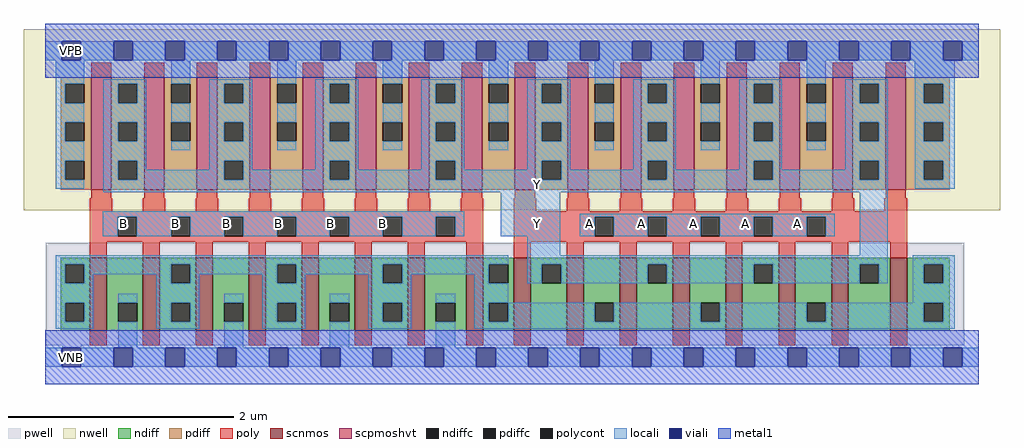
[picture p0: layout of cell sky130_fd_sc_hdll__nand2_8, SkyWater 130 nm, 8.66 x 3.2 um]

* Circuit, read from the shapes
.subckt sky130_fd_sc_hdll__nand2_8 A B VGND VNB VPB VPWR Y
XM1 VGND B n1 VNB sky130_fd_pr__nfet_01v8 w=0.65 l=0.15 m=8
XM2 Y A n1 VNB sky130_fd_pr__nfet_01v8 w=0.65 l=0.15 m=8
XM3 Y B VPWR VPB sky130_fd_pr__pfet_01v8_hvt w=1 l=0.18 m=8
XM4 Y A VPWR VPB sky130_fd_pr__pfet_01v8_hvt w=1 l=0.18 m=8
.ends

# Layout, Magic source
magic
tech sky130A
magscale 1 2
<< nwell >>
rect -38 261 1694 582
<< pwell >>
rect 1 21 1631 203
rect 30 -17 64 21
<< scnmos >>
rect 79 47 109 177
rect 173 47 203 177
rect 267 47 297 177
rect 361 47 391 177
rect 455 47 485 177
rect 549 47 579 177
rect 643 47 673 177
rect 747 47 777 177
rect 831 47 861 177
rect 925 47 955 177
rect 1019 47 1049 177
rect 1113 47 1143 177
rect 1207 47 1237 177
rect 1301 47 1331 177
rect 1395 47 1425 177
rect 1499 47 1529 177
<< scpmoshvt >>
rect 81 297 117 497
rect 175 297 211 497
rect 269 297 305 497
rect 363 297 399 497
rect 457 297 493 497
rect 551 297 587 497
rect 645 297 681 497
rect 739 297 775 497
rect 833 297 869 497
rect 927 297 963 497
rect 1021 297 1057 497
rect 1115 297 1151 497
rect 1209 297 1245 497
rect 1303 297 1339 497
rect 1397 297 1433 497
rect 1491 297 1527 497
<< ndiff >>
rect 27 165 79 177
rect 27 131 35 165
rect 69 131 79 165
rect 27 97 79 131
rect 27 63 35 97
rect 69 63 79 97
rect 27 47 79 63
rect 109 97 173 177
rect 109 63 129 97
rect 163 63 173 97
rect 109 47 173 63
rect 203 165 267 177
rect 203 131 223 165
rect 257 131 267 165
rect 203 97 267 131
rect 203 63 223 97
rect 257 63 267 97
rect 203 47 267 63
rect 297 97 361 177
rect 297 63 317 97
rect 351 63 361 97
rect 297 47 361 63
rect 391 165 455 177
rect 391 131 411 165
rect 445 131 455 165
rect 391 97 455 131
rect 391 63 411 97
rect 445 63 455 97
rect 391 47 455 63
rect 485 97 549 177
rect 485 63 505 97
rect 539 63 549 97
rect 485 47 549 63
rect 579 165 643 177
rect 579 131 599 165
rect 633 131 643 165
rect 579 97 643 131
rect 579 63 599 97
rect 633 63 643 97
rect 579 47 643 63
rect 673 97 747 177
rect 673 63 693 97
rect 727 63 747 97
rect 673 47 747 63
rect 777 165 831 177
rect 777 131 787 165
rect 821 131 831 165
rect 777 97 831 131
rect 777 63 787 97
rect 821 63 831 97
rect 777 47 831 63
rect 861 165 925 177
rect 861 131 881 165
rect 915 131 925 165
rect 861 47 925 131
rect 955 97 1019 177
rect 955 63 975 97
rect 1009 63 1019 97
rect 955 47 1019 63
rect 1049 165 1113 177
rect 1049 131 1069 165
rect 1103 131 1113 165
rect 1049 47 1113 131
rect 1143 97 1207 177
rect 1143 63 1163 97
rect 1197 63 1207 97
rect 1143 47 1207 63
rect 1237 165 1301 177
rect 1237 131 1257 165
rect 1291 131 1301 165
rect 1237 47 1301 131
rect 1331 97 1395 177
rect 1331 63 1351 97
rect 1385 63 1395 97
rect 1331 47 1395 63
rect 1425 165 1499 177
rect 1425 131 1445 165
rect 1479 131 1499 165
rect 1425 47 1499 131
rect 1529 165 1605 177
rect 1529 131 1559 165
rect 1593 131 1605 165
rect 1529 97 1605 131
rect 1529 63 1559 97
rect 1593 63 1605 97
rect 1529 47 1605 63
<< pdiff >>
rect 27 485 81 497
rect 27 451 35 485
rect 69 451 81 485
rect 27 417 81 451
rect 27 383 35 417
rect 69 383 81 417
rect 27 349 81 383
rect 27 315 35 349
rect 69 315 81 349
rect 27 297 81 315
rect 117 485 175 497
rect 117 451 129 485
rect 163 451 175 485
rect 117 417 175 451
rect 117 383 129 417
rect 163 383 175 417
rect 117 349 175 383
rect 117 315 129 349
rect 163 315 175 349
rect 117 297 175 315
rect 211 485 269 497
rect 211 451 223 485
rect 257 451 269 485
rect 211 417 269 451
rect 211 383 223 417
rect 257 383 269 417
rect 211 297 269 383
rect 305 485 363 497
rect 305 451 317 485
rect 351 451 363 485
rect 305 417 363 451
rect 305 383 317 417
rect 351 383 363 417
rect 305 349 363 383
rect 305 315 317 349
rect 351 315 363 349
rect 305 297 363 315
rect 399 485 457 497
rect 399 451 411 485
rect 445 451 457 485
rect 399 417 457 451
rect 399 383 411 417
rect 445 383 457 417
rect 399 297 457 383
rect 493 485 551 497
rect 493 451 505 485
rect 539 451 551 485
rect 493 417 551 451
rect 493 383 505 417
rect 539 383 551 417
rect 493 349 551 383
rect 493 315 505 349
rect 539 315 551 349
rect 493 297 551 315
rect 587 485 645 497
rect 587 451 599 485
rect 633 451 645 485
rect 587 417 645 451
rect 587 383 599 417
rect 633 383 645 417
rect 587 297 645 383
rect 681 485 739 497
rect 681 451 693 485
rect 727 451 739 485
rect 681 417 739 451
rect 681 383 693 417
rect 727 383 739 417
rect 681 349 739 383
rect 681 315 693 349
rect 727 315 739 349
rect 681 297 739 315
rect 775 485 833 497
rect 775 451 787 485
rect 821 451 833 485
rect 775 417 833 451
rect 775 383 787 417
rect 821 383 833 417
rect 775 297 833 383
rect 869 485 927 497
rect 869 451 881 485
rect 915 451 927 485
rect 869 417 927 451
rect 869 383 881 417
rect 915 383 927 417
rect 869 349 927 383
rect 869 315 881 349
rect 915 315 927 349
rect 869 297 927 315
rect 963 485 1021 497
rect 963 451 975 485
rect 1009 451 1021 485
rect 963 417 1021 451
rect 963 383 975 417
rect 1009 383 1021 417
rect 963 297 1021 383
rect 1057 485 1115 497
rect 1057 451 1069 485
rect 1103 451 1115 485
rect 1057 417 1115 451
rect 1057 383 1069 417
rect 1103 383 1115 417
rect 1057 349 1115 383
rect 1057 315 1069 349
rect 1103 315 1115 349
rect 1057 297 1115 315
rect 1151 485 1209 497
rect 1151 451 1163 485
rect 1197 451 1209 485
rect 1151 417 1209 451
rect 1151 383 1163 417
rect 1197 383 1209 417
rect 1151 297 1209 383
rect 1245 485 1303 497
rect 1245 451 1257 485
rect 1291 451 1303 485
rect 1245 417 1303 451
rect 1245 383 1257 417
rect 1291 383 1303 417
rect 1245 349 1303 383
rect 1245 315 1257 349
rect 1291 315 1303 349
rect 1245 297 1303 315
rect 1339 485 1397 497
rect 1339 451 1351 485
rect 1385 451 1397 485
rect 1339 417 1397 451
rect 1339 383 1351 417
rect 1385 383 1397 417
rect 1339 297 1397 383
rect 1433 485 1491 497
rect 1433 451 1445 485
rect 1479 451 1491 485
rect 1433 417 1491 451
rect 1433 383 1445 417
rect 1479 383 1491 417
rect 1433 349 1491 383
rect 1433 315 1445 349
rect 1479 315 1491 349
rect 1433 297 1491 315
rect 1527 485 1605 497
rect 1527 451 1559 485
rect 1593 451 1605 485
rect 1527 417 1605 451
rect 1527 383 1559 417
rect 1593 383 1605 417
rect 1527 349 1605 383
rect 1527 315 1559 349
rect 1593 315 1605 349
rect 1527 297 1605 315
<< ndiffc >>
rect 35 131 69 165
rect 35 63 69 97
rect 129 63 163 97
rect 223 131 257 165
rect 223 63 257 97
rect 317 63 351 97
rect 411 131 445 165
rect 411 63 445 97
rect 505 63 539 97
rect 599 131 633 165
rect 599 63 633 97
rect 693 63 727 97
rect 787 131 821 165
rect 787 63 821 97
rect 881 131 915 165
rect 975 63 1009 97
rect 1069 131 1103 165
rect 1163 63 1197 97
rect 1257 131 1291 165
rect 1351 63 1385 97
rect 1445 131 1479 165
rect 1559 131 1593 165
rect 1559 63 1593 97
<< pdiffc >>
rect 35 451 69 485
rect 35 383 69 417
rect 35 315 69 349
rect 129 451 163 485
rect 129 383 163 417
rect 129 315 163 349
rect 223 451 257 485
rect 223 383 257 417
rect 317 451 351 485
rect 317 383 351 417
rect 317 315 351 349
rect 411 451 445 485
rect 411 383 445 417
rect 505 451 539 485
rect 505 383 539 417
rect 505 315 539 349
rect 599 451 633 485
rect 599 383 633 417
rect 693 451 727 485
rect 693 383 727 417
rect 693 315 727 349
rect 787 451 821 485
rect 787 383 821 417
rect 881 451 915 485
rect 881 383 915 417
rect 881 315 915 349
rect 975 451 1009 485
rect 975 383 1009 417
rect 1069 451 1103 485
rect 1069 383 1103 417
rect 1069 315 1103 349
rect 1163 451 1197 485
rect 1163 383 1197 417
rect 1257 451 1291 485
rect 1257 383 1291 417
rect 1257 315 1291 349
rect 1351 451 1385 485
rect 1351 383 1385 417
rect 1445 451 1479 485
rect 1445 383 1479 417
rect 1445 315 1479 349
rect 1559 451 1593 485
rect 1559 383 1593 417
rect 1559 315 1593 349
<< poly >>
rect 81 497 117 523
rect 175 497 211 523
rect 269 497 305 523
rect 363 497 399 523
rect 457 497 493 523
rect 551 497 587 523
rect 645 497 681 523
rect 739 497 775 523
rect 833 497 869 523
rect 927 497 963 523
rect 1021 497 1057 523
rect 1115 497 1151 523
rect 1209 497 1245 523
rect 1303 497 1339 523
rect 1397 497 1433 523
rect 1491 497 1527 523
rect 81 282 117 297
rect 175 282 211 297
rect 269 282 305 297
rect 363 282 399 297
rect 457 282 493 297
rect 551 282 587 297
rect 645 282 681 297
rect 739 282 775 297
rect 833 282 869 297
rect 927 282 963 297
rect 1021 282 1057 297
rect 1115 282 1151 297
rect 1209 282 1245 297
rect 1303 282 1339 297
rect 1397 282 1433 297
rect 1491 282 1527 297
rect 79 259 119 282
rect 173 259 213 282
rect 267 259 307 282
rect 361 259 401 282
rect 455 259 495 282
rect 549 259 589 282
rect 643 259 683 282
rect 737 259 777 282
rect 79 249 777 259
rect 79 215 128 249
rect 162 215 223 249
rect 257 215 317 249
rect 351 215 411 249
rect 445 215 505 249
rect 539 215 599 249
rect 633 215 693 249
rect 727 215 777 249
rect 79 205 777 215
rect 79 177 109 205
rect 173 177 203 205
rect 267 177 297 205
rect 361 177 391 205
rect 455 177 485 205
rect 549 177 579 205
rect 643 177 673 205
rect 747 177 777 205
rect 831 259 871 282
rect 925 259 965 282
rect 1019 259 1059 282
rect 1113 259 1153 282
rect 1207 259 1247 282
rect 1301 259 1341 282
rect 1395 259 1435 282
rect 1489 259 1529 282
rect 831 249 1529 259
rect 831 215 975 249
rect 1009 215 1069 249
rect 1103 215 1163 249
rect 1197 215 1257 249
rect 1291 215 1351 249
rect 1385 215 1529 249
rect 831 205 1529 215
rect 831 177 861 205
rect 925 177 955 205
rect 1019 177 1049 205
rect 1113 177 1143 205
rect 1207 177 1237 205
rect 1301 177 1331 205
rect 1395 177 1425 205
rect 1499 177 1529 205
rect 79 21 109 47
rect 173 21 203 47
rect 267 21 297 47
rect 361 21 391 47
rect 455 21 485 47
rect 549 21 579 47
rect 643 21 673 47
rect 747 21 777 47
rect 831 21 861 47
rect 925 21 955 47
rect 1019 21 1049 47
rect 1113 21 1143 47
rect 1207 21 1237 47
rect 1301 21 1331 47
rect 1395 21 1425 47
rect 1499 21 1529 47
<< polycont >>
rect 128 215 162 249
rect 223 215 257 249
rect 317 215 351 249
rect 411 215 445 249
rect 505 215 539 249
rect 599 215 633 249
rect 693 215 727 249
rect 975 215 1009 249
rect 1069 215 1103 249
rect 1163 215 1197 249
rect 1257 215 1291 249
rect 1351 215 1385 249
<< locali >>
rect 0 527 29 561
rect 63 527 121 561
rect 155 527 213 561
rect 247 527 305 561
rect 339 527 397 561
rect 431 527 489 561
rect 523 527 581 561
rect 615 527 673 561
rect 707 527 765 561
rect 799 527 857 561
rect 891 527 949 561
rect 983 527 1041 561
rect 1075 527 1133 561
rect 1167 527 1225 561
rect 1259 527 1317 561
rect 1351 527 1409 561
rect 1443 527 1501 561
rect 1535 527 1593 561
rect 1627 527 1656 561
rect 18 485 69 527
rect 18 451 35 485
rect 18 417 69 451
rect 18 383 35 417
rect 18 349 69 383
rect 18 315 35 349
rect 18 299 69 315
rect 103 485 179 493
rect 103 451 129 485
rect 163 451 179 485
rect 103 417 179 451
rect 103 383 129 417
rect 163 383 179 417
rect 103 349 179 383
rect 223 485 257 527
rect 223 417 257 451
rect 223 367 257 383
rect 291 485 367 493
rect 291 451 317 485
rect 351 451 367 485
rect 291 417 367 451
rect 291 383 317 417
rect 351 383 367 417
rect 103 315 129 349
rect 163 333 179 349
rect 291 349 367 383
rect 411 485 445 527
rect 411 417 445 451
rect 411 367 445 383
rect 479 485 555 493
rect 479 451 505 485
rect 539 451 555 485
rect 479 417 555 451
rect 479 383 505 417
rect 539 383 555 417
rect 291 333 317 349
rect 163 315 317 333
rect 351 333 367 349
rect 479 349 555 383
rect 599 485 633 527
rect 599 417 633 451
rect 599 367 633 383
rect 667 485 743 493
rect 667 451 693 485
rect 727 451 743 485
rect 667 417 743 451
rect 667 383 693 417
rect 727 383 743 417
rect 479 333 505 349
rect 351 315 505 333
rect 539 333 555 349
rect 667 349 743 383
rect 787 485 821 527
rect 787 417 821 451
rect 787 367 821 383
rect 855 485 931 493
rect 855 451 881 485
rect 915 451 931 485
rect 855 417 931 451
rect 855 383 881 417
rect 915 383 931 417
rect 667 333 693 349
rect 539 315 693 333
rect 727 333 743 349
rect 855 349 931 383
rect 975 485 1009 527
rect 975 417 1009 451
rect 975 367 1009 383
rect 1043 485 1119 493
rect 1043 451 1069 485
rect 1103 451 1119 485
rect 1043 417 1119 451
rect 1043 383 1069 417
rect 1103 383 1119 417
rect 855 333 881 349
rect 727 315 881 333
rect 915 333 931 349
rect 1043 349 1119 383
rect 1163 485 1197 527
rect 1163 417 1197 451
rect 1163 367 1197 383
rect 1231 485 1307 493
rect 1231 451 1257 485
rect 1291 451 1307 485
rect 1231 417 1307 451
rect 1231 383 1257 417
rect 1291 383 1307 417
rect 1043 333 1069 349
rect 915 315 1069 333
rect 1103 333 1119 349
rect 1231 349 1307 383
rect 1351 485 1385 527
rect 1351 417 1385 451
rect 1351 367 1385 383
rect 1419 485 1495 493
rect 1419 451 1445 485
rect 1479 451 1495 485
rect 1419 417 1495 451
rect 1419 383 1445 417
rect 1479 383 1495 417
rect 1231 333 1257 349
rect 1103 315 1257 333
rect 1291 333 1307 349
rect 1419 349 1495 383
rect 1419 333 1445 349
rect 1291 315 1445 333
rect 1479 315 1495 349
rect 103 293 1495 315
rect 1543 485 1614 527
rect 1543 451 1559 485
rect 1593 451 1614 485
rect 1543 417 1614 451
rect 1543 383 1559 417
rect 1593 383 1614 417
rect 1543 349 1614 383
rect 1543 315 1559 349
rect 1593 315 1614 349
rect 1543 299 1614 315
rect 102 249 743 259
rect 102 215 128 249
rect 162 215 223 249
rect 257 215 317 249
rect 351 215 411 249
rect 445 215 505 249
rect 539 215 599 249
rect 633 215 693 249
rect 727 215 743 249
rect 808 215 914 293
rect 948 249 1401 255
rect 948 215 975 249
rect 1009 215 1069 249
rect 1103 215 1163 249
rect 1197 215 1257 249
rect 1291 215 1351 249
rect 1385 215 1401 249
rect 855 181 914 215
rect 1445 181 1495 293
rect 18 165 821 181
rect 18 131 35 165
rect 69 147 223 165
rect 69 131 85 147
rect 18 97 85 131
rect 197 131 223 147
rect 257 147 411 165
rect 257 131 273 147
rect 18 63 35 97
rect 69 63 85 97
rect 18 51 85 63
rect 129 97 163 113
rect 129 17 163 63
rect 197 97 273 131
rect 385 131 411 147
rect 445 147 599 165
rect 445 131 461 147
rect 197 63 223 97
rect 257 63 273 97
rect 197 51 273 63
rect 317 97 351 113
rect 317 17 351 63
rect 385 97 461 131
rect 573 131 599 147
rect 633 147 787 165
rect 633 131 649 147
rect 385 63 411 97
rect 445 63 461 97
rect 385 51 461 63
rect 505 97 539 113
rect 505 17 539 63
rect 573 97 649 131
rect 761 131 787 147
rect 855 165 1495 181
rect 855 131 881 165
rect 915 131 1069 165
rect 1103 131 1257 165
rect 1291 131 1445 165
rect 1479 131 1495 165
rect 1539 165 1614 181
rect 1539 131 1559 165
rect 1593 131 1614 165
rect 573 63 599 97
rect 633 63 649 97
rect 573 51 649 63
rect 693 97 727 113
rect 693 17 727 63
rect 761 97 821 131
rect 1539 97 1614 131
rect 761 63 787 97
rect 821 63 975 97
rect 1009 63 1163 97
rect 1197 63 1351 97
rect 1385 63 1559 97
rect 1593 63 1614 97
rect 761 51 1614 63
rect 0 -17 29 17
rect 63 -17 121 17
rect 155 -17 213 17
rect 247 -17 305 17
rect 339 -17 397 17
rect 431 -17 489 17
rect 523 -17 581 17
rect 615 -17 673 17
rect 707 -17 765 17
rect 799 -17 857 17
rect 891 -17 949 17
rect 983 -17 1041 17
rect 1075 -17 1133 17
rect 1167 -17 1225 17
rect 1259 -17 1317 17
rect 1351 -17 1409 17
rect 1443 -17 1501 17
rect 1535 -17 1593 17
rect 1627 -17 1656 17
<< viali >>
rect 29 527 63 561
rect 121 527 155 561
rect 213 527 247 561
rect 305 527 339 561
rect 397 527 431 561
rect 489 527 523 561
rect 581 527 615 561
rect 673 527 707 561
rect 765 527 799 561
rect 857 527 891 561
rect 949 527 983 561
rect 1041 527 1075 561
rect 1133 527 1167 561
rect 1225 527 1259 561
rect 1317 527 1351 561
rect 1409 527 1443 561
rect 1501 527 1535 561
rect 1593 527 1627 561
rect 29 -17 63 17
rect 121 -17 155 17
rect 213 -17 247 17
rect 305 -17 339 17
rect 397 -17 431 17
rect 489 -17 523 17
rect 581 -17 615 17
rect 673 -17 707 17
rect 765 -17 799 17
rect 857 -17 891 17
rect 949 -17 983 17
rect 1041 -17 1075 17
rect 1133 -17 1167 17
rect 1225 -17 1259 17
rect 1317 -17 1351 17
rect 1409 -17 1443 17
rect 1501 -17 1535 17
rect 1593 -17 1627 17
<< metal1 >>
rect 0 561 1656 592
rect 0 527 29 561
rect 63 527 121 561
rect 155 527 213 561
rect 247 527 305 561
rect 339 527 397 561
rect 431 527 489 561
rect 523 527 581 561
rect 615 527 673 561
rect 707 527 765 561
rect 799 527 857 561
rect 891 527 949 561
rect 983 527 1041 561
rect 1075 527 1133 561
rect 1167 527 1225 561
rect 1259 527 1317 561
rect 1351 527 1409 561
rect 1443 527 1501 561
rect 1535 527 1593 561
rect 1627 527 1656 561
rect 0 496 1656 527
rect 0 17 1656 48
rect 0 -17 29 17
rect 63 -17 121 17
rect 155 -17 213 17
rect 247 -17 305 17
rect 339 -17 397 17
rect 431 -17 489 17
rect 523 -17 581 17
rect 615 -17 673 17
rect 707 -17 765 17
rect 799 -17 857 17
rect 891 -17 949 17
rect 983 -17 1041 17
rect 1075 -17 1133 17
rect 1167 -17 1225 17
rect 1259 -17 1317 17
rect 1351 -17 1409 17
rect 1443 -17 1501 17
rect 1535 -17 1593 17
rect 1627 -17 1656 17
rect 0 -48 1656 -17
<< labels >>
flabel locali s 1041 221 1075 255 0 FreeSans 250 0 0 0 A
port 1 nsew signal input
flabel locali s 949 221 983 255 0 FreeSans 250 0 0 0 A
port 1 nsew signal input
flabel locali s 1317 221 1351 255 0 FreeSans 250 0 0 0 A
port 1 nsew signal input
flabel locali s 581 221 615 255 0 FreeSans 250 0 0 0 B
port 2 nsew signal input
flabel locali s 213 221 247 255 0 FreeSans 250 0 0 0 B
port 2 nsew signal input
flabel locali s 121 221 155 255 0 FreeSans 250 0 0 0 B
port 2 nsew signal input
flabel locali s 857 289 891 323 0 FreeSans 250 0 0 0 Y
port 7 nsew signal output
flabel locali s 857 221 891 255 0 FreeSans 250 0 0 0 Y
port 7 nsew signal output
flabel locali s 1225 221 1259 255 0 FreeSans 250 0 0 0 A
port 1 nsew signal input
flabel locali s 1133 221 1167 255 0 FreeSans 250 0 0 0 A
port 1 nsew signal input
flabel locali s 489 221 523 255 0 FreeSans 250 0 0 0 B
port 2 nsew signal input
flabel locali s 397 221 431 255 0 FreeSans 250 0 0 0 B
port 2 nsew signal input
flabel locali s 305 221 339 255 0 FreeSans 250 0 0 0 B
port 2 nsew signal input
flabel pwell s 30 -17 64 17 0 FreeSans 200 0 0 0 VNB
port 4 nsew ground bidirectional
flabel nwell s 30 527 64 561 0 FreeSans 200 0 0 0 VPB
port 5 nsew power bidirectional
flabel metal1 s 30 -17 64 17 0 FreeSans 200 0 0 0 VGND
port 3 nsew ground bidirectional
flabel metal1 s 30 527 64 561 0 FreeSans 200 0 0 0 VPWR
port 6 nsew power bidirectional
rlabel comment s 0 0 0 0 4 nand2_8
<< properties >>
string LEFsite unithd
string LEFclass CORE
string FIXED_BBOX 0 0 1656 544
string GDS_FILE $PDKPATH/libs.ref/sky130_fd_sc_hdll/gds/sky130_fd_sc_hdll.gds
string LEFsymmetry X Y R90
string GDS_END 2202794
string GDS_START 2189702
string LEFproperties maskLayoutSubType "abstract" prCellType "standard" originalViewName "layout"
<< end >>
